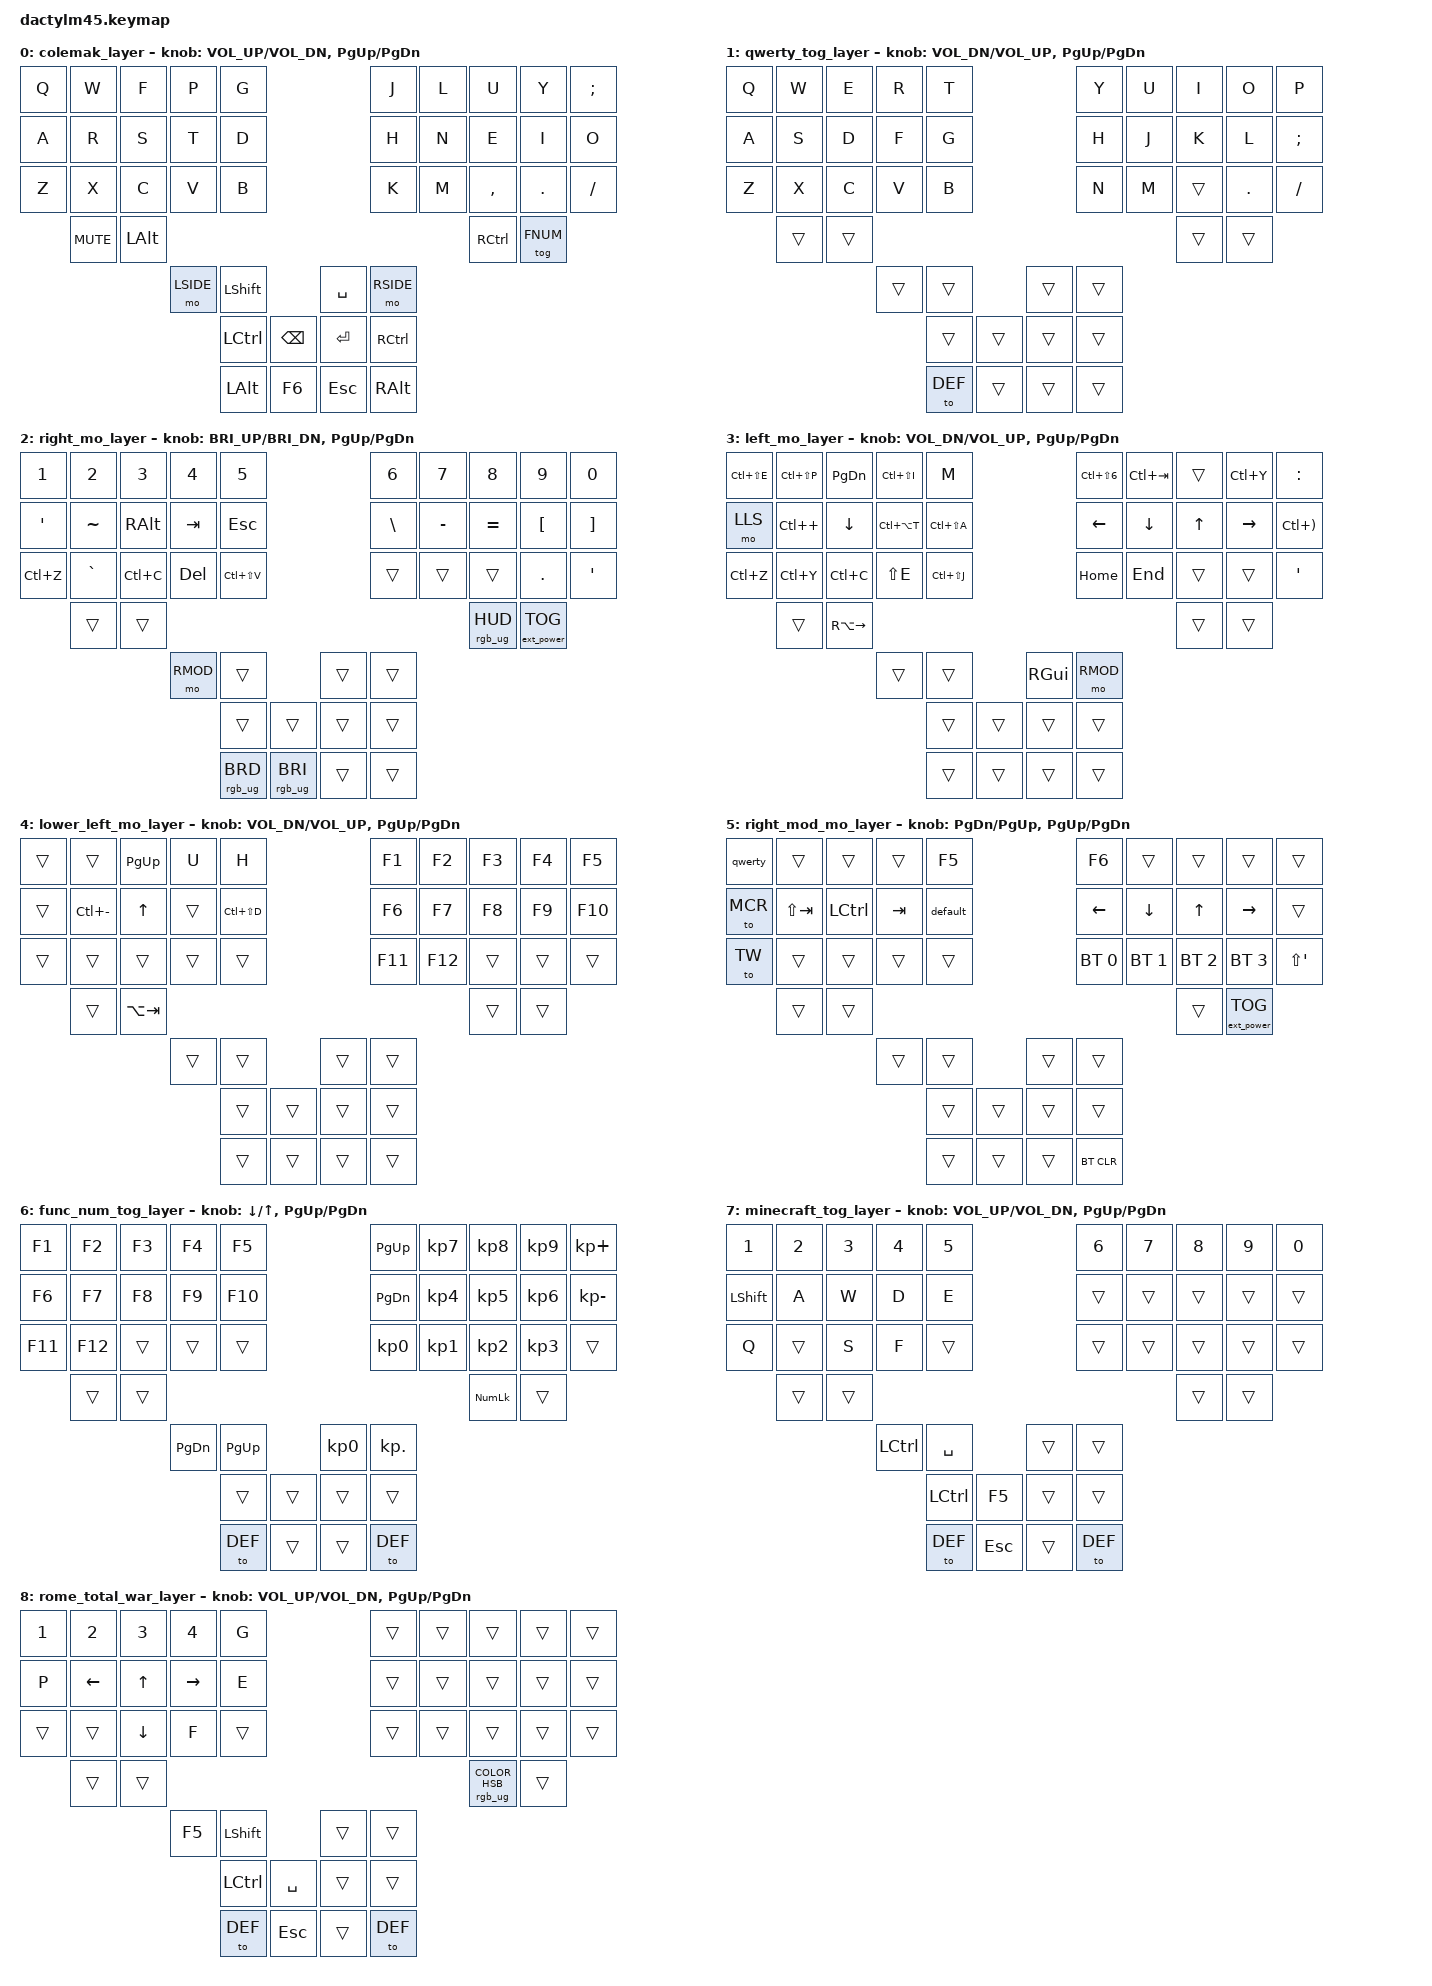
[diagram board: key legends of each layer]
/*
 * Copyright (c) 2020 The ZMK Contributors
 *
 * SPDX-License-Identifier: MIT
 * 
 * F5 refreshes window, F6 goes to URL, F11 full screen
 */

#include <behaviors.dtsi>
#include <dt-bindings/zmk/keys.h>
#include <dt-bindings/zmk/bt.h>
#include <dt-bindings/zmk/rgb.h>
#include <dt-bindings/zmk/ext_power.h>

&kscan0 {
  debounce-press-ms = <10>;
  debounce-release-ms = <5>;
};

#define DEF     0  // Line 48
#define QWE     1  // Line 70
#define RSIDE   2  // Line 92 
#define LSIDE   3  // Line 115
#define LLS     4  // Line 141
#define RMOD    5  // Line 163  access QWER, MCR, GIMP, WM here
#define FNUM    6  // Line 185  
#define MCR     7  // Line 210 
#define TW      8  // Line 232 Rome: Total war keys layer

// combos Line 223
//#define QWER    2  // Line 84

//&lt { tapping-term-ms = <85>; };
//&mt { tapping-term-ms = <85>; };

/ {
// ----------------------------------------------------------------------------------------------------------------------------------
// |   0  |   1  |   2  |   3  |   4  |                                     |   5  |   6  |   7  |   8  |   9  |
// |  10  |  11  |  12  |  13  |  14  |                                     |  15  |  16  |  17  |  18  |  19  |
// |  20  |  21  |  22  |  23  |  24  |                                     |  25  |  26  |  27  |  28  |  29  |
//        |  30  |  31  |                                                                 |  32  |  33  |                          
//                      |  34  |  35  |                                     |  36  |  37  |                                            
//                                    |  38  |  39  |         |  40  |  41  |                                                         
//                                    |  42  |  43  |         |  44  |  45  |                                         

	keymap {
		compatible = "zmk,keymap";

		colemak_layer {
// ---------------------------------------------------------------------------------------------------------------------------------
// |  Q  |  W  |  F  |  P  |  G  |                                            |  J  |  L   |  U   |  Y  |  ;  |
// |  A  |  R  |  S  |  T  |  D  |                                            |  H  |  N   |  E   |  I  |  O  |
// |  Z  |  X  |  C  |  V  |  B  |                                            |  K  |  M   |  ,   |  .  |  /  |
//       | MUTE| ALT |                                                                   | CTRL | FNUM|
//                    | LSIDE | SHIFT |                                       | SPACE| RSIDE |
//                                   | CTRL | BSPC |           | RET |  CTRL  |
//                                   | ALT  | F6   |           | ESC |  ALT   |
			bindings = <
	&kp Q &kp W      &kp F     &kp P      &kp G                               &kp J     &kp L    &kp U      &kp Y   &kp SEMI
	&kp A &kp R      &kp S     &kp T      &kp D                               &kp H     &kp N    &kp E      &kp I   &kp O   
	&kp Z &kp X      &kp C     &kp V      &kp B                               &kp K     &kp M    &kp COMMA  &kp DOT &kp FSLH 
        &kp C_MUTE &kp LALT                                                                    &kp RCTRL  &tog FNUM
                            &mo LSIDE   &kp LSHFT                    &kp SPACE &mo RSIDE  
                                      &kp LCTRL   &kp BSPC     &kp RET  &kp RCTRL 
                                      &kp LALT    &kp F6       &kp ESC  &kp RALT
			>;

			sensor-bindings = <&inc_dec_kp C_VOL_UP C_VOL_DN &inc_dec_kp PG_UP PG_DN>;
		};

		qwerty_tog_layer {
// ---------------------------------------------------------------------------------------------------------------------------------
// |  Q  |  W  |  E   |  R   |  T   |                                          |  Y   |  U    |  I    |  O   |   P   |  
// |  A  |  S  |  D   |  F   |  G   |                                          |  H   |  J    |  K    |  L   |   ;   | 
// |  Z  |  X  |  C   |  V   |  B   |                                          |  N   |  M    |  ,    |  .   |   /   |
//       |     |      |                                                                       |       |      |
//                    |      |      |                                          |      |       |
//                                  |     |     |               |    |         |
//                                  |     |     |               |    |         |
			bindings = <
	&kp Q &kp W   &kp E  &kp R  &kp T                                         &kp Y  &kp U  &kp I    &kp O   &kp P   
	&kp A &kp S   &kp D  &kp F  &kp G                                         &kp H  &kp J  &kp K    &kp L   &kp SEMI
	&kp Z &kp X   &kp C  &kp V  &kp B                                         &kp N  &kp M  &trans   &kp DOT &kp FSLH
	      &trans  &trans                                                                    &trans   &trans
                       &trans &trans                                        &trans &trans
                                     &trans  &trans          &trans  &trans
                                     &to DEF &trans          &trans  &trans
			>;

			sensor-bindings = <&inc_dec_kp C_VOL_DN C_VOL_UP &inc_dec_kp PG_UP PG_DN>;
		};

		right_mo_layer {
// C(T), C(W), CA(V) --> open browser tab, close tab, paste
// ---------------------------------------------------------------------------------------------------------------------------------
// |  1  |  2  |  3   |    4   |  5   |                                          |  6   |  7    |  8    |  9   |   0   |      
// |  '  |  ~  | ALT  |   TAB  | ESC  |                                          |  \   |  -    |  =    |  [   |   ]   |      
// | C(Z)|  `  | C(C) |   DEL  | CA(V)|                                          |      |       |       |  .   |   '   |      
//       |     | HUD  |                                                                         |       |      |
//                    |  RMOD  |      |                                          |      |       |
//                                  |       |     |                  |     |     |
//                                  |  BRD  | BRI |                  |     |     |
			bindings = <
	&kp N1      &kp N2     &kp N3    &kp N4   &kp N5                                          &kp N6    &kp N7      &kp N8    &kp N9    &kp N0  
	&kp SQT     &kp TILDE  &kp RALT  &kp TAB  &kp ESC                                         &kp BSLH  &kp MINUS   &kp EQUAL &kp LBKT  &kp RBKT
	&kp LC(Z)   &kp GRAVE  &kp LC(C) &kp DEL  &kp LC(LS(V))                                   &trans    &trans      &trans    &kp DOT   &kp SQT
	            &trans     &trans                                                                                   &rgb_ug RGB_HUD  &ext_power EP_TOG
                                   &mo RMOD  &trans                                          &trans   &trans
                                              &trans           &trans             &trans  &trans 
                                              &rgb_ug RGB_BRD  &rgb_ug RGB_BRI    &trans  &trans
			>;

			sensor-bindings = <&inc_dec_kp C_BRI_UP C_BRI_DN &inc_dec_kp PG_UP PG_DN>;
		};

		left_mo_layer {
// CS(E), CS(P), CS(A),  C(Z), C(Y)  --> xournal++ ==> Erasure, Pen, Hand, Undo, Redo
//  S(E), CS(J), CS(A), CS(D), C(Z), C(Y)) --> GIMP ==> Erasure, window, Select None, doc layer, Undo, Redo
// CA(T),  C()), CS(I) --> new console, split horizontal console, open browser dev tools
// CS(6) --> NERDTree ==> traverse windows
// ---------------------------------------------------------------------------------------------------------------------------------
// | CS(E) | CS(P) | PGDN |CS(I) |  M    |                                          | CS(6) | C(TAB)|       | C(Y) | COLON |   
// | LLS   | C(+)  |  DN  |CA(T) | CS(A) |                                          | LARROW| DOWN  |  UP   |RARROW| C())  |  
// |  C(Z) |  C(Y) | C(C) | S(E) | CS(J) |                                          |  HOME |  END  |       |      |  SQT  | 
//         |       |A(-->)|                                                                         |       |    |
//                        |      |       |                                          |  GUI  |  RMOD |
//                                       |     |       |                |      |    |
//                                       |     |       |                |      |    |
			bindings = <
	&kp LC(LS(E)) &kp LC(LS(P)) &kp PG_DN  &kp LC(LS(I)) &kp M                                       &kp LC(LS(N6)) &kp LC(TAB) &trans  &kp LC(Y)       &kp COLON      
	&mo LLS       &kp LC(PLUS)  &kp DOWN   &kp LC(LA(T)) &kp LC(LS(A))                               &kp LEFT_ARROW &kp DOWN    &kp UP  &kp RIGHT_ARROW &kp LC(RPAR)
  &kp LC(Z)     &kp LC(Y)     &kp LC(C)  &kp LS(E)     &kp LC(LS(J))                               &kp HOME       &kp END     &trans  &trans          &kp SQT       
                &trans        &kp RA(RIGHT)                                                                                   &trans  &trans
                                    &trans        &trans                                      &kp RGUI         &mo RMOD
                                                         &trans &trans       &trans   &trans 
                                                         &trans &trans       &trans   &trans
			>;

			sensor-bindings = <&inc_dec_kp C_VOL_DN C_VOL_UP &inc_dec_kp PG_UP PG_DN>;
		};

		lower_left_mo_layer {
// ---------------------------------------------------------------------------------------------------------------------------------
// |       |       | PGUP |  U   |  H    |                                          |  F1   |  F2   |  F3   |  F4  |  F5   |   
// |       | C(-)  |  UP  |      | CS(D) |                                          |  F6   |  F7   |  F8   |  F9  |  F10  |  
// |       |       |      |      |       |                                          |  F11  |  F12  |       |      |       | 
//         |       |A(TAB)|                                                                         |       |    |
//                        |      |       |                                          |       |       |
//                                       |     |       |                |      |    |
//                                       |     |       |                |      |    |
			bindings = <
	&trans  &trans        &kp PG_UP  &kp U  &kp H                                &kp F1  &kp F2    &kp F3     &kp F4  &kp F5      
	&trans  &kp LC(MINUS) &kp UP     &trans &kp LC(LS(D))                        &kp F6  &kp F7    &kp F8     &kp F9  &kp F10
  &trans  &trans        &trans     &trans &trans                               &kp F11 &kp F12   &trans     &trans  &trans       
          &trans        &kp LA(TAB)                                                         &trans &trans
                              &trans        &trans                                      &trans     &trans
                                                &trans &trans       &trans   &trans 
                                                &trans &trans       &trans   &trans
			>;

			sensor-bindings = <&inc_dec_kp C_VOL_DN C_VOL_UP &inc_dec_kp PG_UP PG_DN>;
		};

		right_mod_mo_layer {
// ---------------------------------------------------------------------------------------------------------------------------------
// | QWE |       |      |      | F5   |                                          |  F6  |       |       |      |       |      
// | MCR |LS(TAB)| CTL  | TAB  | DEF  |                                          |LARROW|  DN   |  UP   |RARROW|       |       
// | TW  |       |      |      |      |                                          |  BT0 |  BT1  |  BT2  |  BT3 |   "   |      
//       |       |      |                                                                       |       |  PWR |
//                      |      |      |                                          |      |       |
//                                    |       |      |               |     |     |
//                                    |       |      |               |     | BTC |
			bindings = <
	&qwerty   &trans      &trans    &trans   &kp F5                                         &kp F6         &trans       &trans        &trans          &trans  
	&to MCR   &kp LS(TAB) &kp LCTRL &kp TAB  &default                                       &kp LEFT_ARROW &kp DOWN     &kp UP        &kp RIGHT_ARROW &trans
  &to TW    &trans      &trans    &trans   &trans                                         &bt BT_SEL 0   &bt BT_SEL 1 &bt BT_SEL 2  &bt BT_SEL 3    &kp LS(SQT)
	          &trans      &trans                                                                                        &trans    &ext_power EP_TOG
                                         &trans   &trans                                  &trans   &trans
                                           &trans           &trans             &trans  &trans 
                                           &trans           &trans             &trans  &bt BT_CLR
			>;

			sensor-bindings = <&inc_dec_kp PG_DN PG_UP &inc_dec_kp PG_UP PG_DN>;
		};

		func_num_tog_layer {
// ---------------------------------------------------------------------------------------------------------------------------------
// | F1  | F2  |  F3  |  F4   |  F5  |                                          | PG_UP |   7   |   8   |  9   |   +   |
// | F6  | F7  |  F8  |  F9   |  F10 |                                          | PG_DN |   4   |   5   |  6   |   -   |
// | F11 | F12 |      |       |      |                                          |   0   |   1   |   2   |  3   |       |
//       |     |      |                                                                         | NUMLK |      |
//                    |       |      |                                          |   0   |  DOT  |
//                                   |      |      |                |      |    |
//                                   |      |      |                |      | DEF|
			bindings = <
	&kp F1  &kp F2  &kp F3 &kp F4 &kp F5                                     &kp PG_UP &kp KP_N7  &kp KP_N8  &kp KP_N9 &kp KP_PLUS 
	&kp F6  &kp F7  &kp F8 &kp F9 &kp F10                                    &kp PG_DN &kp KP_N4  &kp KP_N5  &kp KP_N6 &kp KP_MINUS
	&kp F11 &kp F12 &trans &trans &trans                                     &kp KP_N0 &kp KP_N1  &kp KP_N2  &kp KP_N3 &trans       
          &trans  &trans                                                                        &kp KP_NUM &trans
                         &kp PG_DN &kp PG_UP                         &kp KP_N0 &kp KP_DOT
                                       &trans  &trans      &trans   &trans
                                       &to DEF &trans      &trans   &to DEF
			>;

			sensor-bindings = <&inc_dec_kp DOWN UP &inc_dec_kp PG_UP PG_DN>;
		};

		minecraft_tog_layer {
// ---------------------------------------------------------------------------------------------------------------------------------
// |  1  |  2  |  3   |  4   |  5   |                                          |   6  |   7   |   8   |  9   |   0   |
// |SHFT |  A  |  W   |  D   |  E   |                                          |      |       |       |      |       |
// |  Q  |     |  S   |  F   |      |                                          |      |       |       |      |       |
//       |     |      |                                                                       |       |      |
//                    | CTRL | SPACE|                                          |      |       |
//                                  |SHFT|   F5  |               |       |    |
//                                  | DEF|  ESC  |               |       | DEF|
			bindings = <
	&kp N1    &kp N2  &kp N3 &kp N4 &kp N5                                             &kp N6 &kp N7 &kp N8 &kp N9 &kp N0
	&kp LSHFT &kp A   &kp W  &kp D  &kp E                                              &trans &trans &trans &trans &trans
  &kp Q     &trans  &kp S  &kp F  &trans                                             &trans &trans &trans &trans &trans
	          &trans  &trans                                                                         &trans &trans
                        &kp LCTRL &kp SPACE                                         &trans &trans 
                                          &kp LCTRL  &kp F5         &trans  &trans
                                          &to DEF    &kp ESC        &trans  &to DEF
			>;

			sensor-bindings = <&inc_dec_kp C_VOL_UP C_VOL_DN &inc_dec_kp PG_UP PG_DN>;
		};

		rome_total_war_layer {
// ---------------------------------------------------------------------------------------------------------------------------------
// |  1  |  2  |  3   |  4   |  G   |                                          |      |       |       |      |       |
// |  P  | <-- |  UP  | -->  |  E   |                                          |      |       |       |      |       |
// |     |     | DOWN |  F   |      |                                          |      |       |       |      |       |
//       |     |      |                                                                       | GREEN |      |
//                    |  F5  | LSHFT|                                          |      |       |
//                                  |CTRL| SPACE |               |       |    |
//                                  | DEF|  ESC  |               |       | DEF|
			bindings = <
	&kp N1 &kp N2         &kp N3    &kp N4           &kp G                                              &trans &trans &trans                            &trans &trans
	&kp P  &kp LEFT_ARROW &kp UP    &kp RIGHT_ARROW  &kp E                                              &trans &trans &trans                            &trans &trans
  &trans &trans         &kp DOWN  &kp F            &trans                                             &trans &trans &trans                            &trans &trans
	       &trans &trans                                                                         &rgb_ug RGB_COLOR_HSB(120,100,10) &trans
                        &kp F5 &kp LSHFT                                         &trans &trans 
                                          &kp LCTRL  &kp SPACE      &trans  &trans
                                          &to DEF    &kp ESC        &trans  &to DEF
			>;

			sensor-bindings = <&inc_dec_kp C_VOL_UP C_VOL_DN &inc_dec_kp PG_UP PG_DN>;
		};

	};

  macros {
    qwerty: qwerty {
      label = "QWERTY_layer";
      compatible = "zmk,behavior-macro";
      #binding-cells = <0>;
      wait-ms = <0>;
      tap-ms = <0>;
      bindings
       = <&macro_press &to QWE>
        , <&macro_tap &rgb_ug RGB_COLOR_HSB(275,100,100)>
        , <&macro_pause_for_release>
        , <&macro_release &to QWE>
        , <&macro_tap &rgb_ug RGB_COLOR_HSB(275, 100, 100)>;
    };
    default: default {
      label = "DEFAULT_layer";
      compatible = "zmk,behavior-macro";
      #binding-cells = <0>;
      wait-ms = <0>;
      tap-ms = <0>;
      bindings
        = <&macro_press &to DEF>
        , <&macro_tap &rgb_ug RGB_COLOR_HSB(240, 100, 100)>
        , <&macro_pause_for_release>
        , <&macro_release &to DEF>
        , <&macro_tap &rgb_ug RGB_COLOR_HSB(240, 100, 100)>;
    };
  };

//  combos {
//    compatible = "zmk,combos";
//
//    combos_shift_sqt {
//      timeout-ms = <50>;
//      key-positions = <20 37>;
//      bindings = <&kp LS(SQT)>;
//    };
//  };
};

